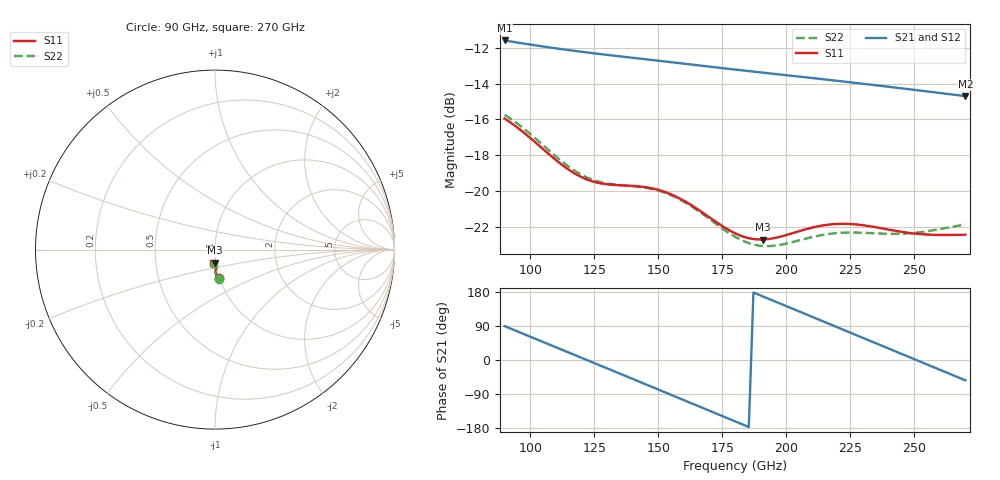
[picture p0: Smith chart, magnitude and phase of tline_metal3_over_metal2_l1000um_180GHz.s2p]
#  GHZ S DB R 50
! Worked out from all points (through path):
!   101 points, 90 GHz to 270 GHz, reference 50 ohm
!   highest |S21| = -11.58 dB at 90 GHz (marker M1); lowest = -14.7 dB at 270 GHz (marker M2)
!   group delay of S21, straight-line fit = 7.77 ps
!   lowest |S11| = -22.7 dB at 190.8 GHz (marker M3), VSWR 1.16, Z = 49.6 - j7.29 ohm
!   |S11| at or under -10 dB: start of sweep to end of sweep
!   |S22| runs from -23.1 to -15.7 dB; largest |S21 - S12| = 3.4e-14
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90  -15.95 -81.5  -11.58 89.4  -11.58 89.4  -15.74 -81.6
97.2  -16.70 -85.3  -11.74 69.3  -11.74 69.3  -16.48 -85.7
106.2  -17.80 -88.2  -11.94 44.3  -11.94 44.3  -17.59 -89.0
113.4  -18.65 -88.4  -12.08 24.3  -12.08 24.3  -18.46 -89.7
120.6  -19.27 -87.3  -12.22 4.2  -12.22 4.2  -19.14 -88.8
127.8  -19.58 -86.0  -12.34 -15.8  -12.34 -15.8  -19.52 -87.7
135  -19.68 -85.8  -12.46 -35.9  -12.46 -35.9  -19.67 -87.5
144  -19.77 -87.7  -12.61 -61.0  -12.61 -61.0  -19.80 -89.3
151.2  -19.99 -90.4  -12.73 -81.2  -12.73 -81.2  -20.03 -91.9
163.8  -20.87 -94.8  -12.94 -116.5  -12.94 -116.5  -20.94 -96.5
172.8  -21.75 -95.4  -13.09 -141.6  -13.09 -141.6  -21.87 -97.4
180  -22.37 -93.6  -13.20 -161.8  -13.20 -161.8  -22.56 -95.9
190.8  -22.72 -88.9  -13.38 168.0  -13.38 168.0  -23.08 -91.0
199.8  -22.48 -86.4  -13.52 142.9  -13.52 142.9  -22.96 -87.7
210.6  -22.04 -86.9  -13.69 112.6  -13.69 112.6  -22.57 -87.0
217.8  -21.87 -88.7  -13.80 92.5  -13.80 92.5  -22.39 -88.0
225  -21.85 -91.0  -13.92 72.3  -13.92 72.3  -22.33 -89.3
232.2  -21.97 -93.0  -14.04 52.1  -14.04 52.1  -22.35 -90.5
241.2  -22.20 -94.6  -14.19 26.9  -14.19 26.9  -22.40 -91.2
248.4  -22.36 -95.2  -14.31 6.8  -14.31 6.8  -22.37 -91.5
255.6  -22.45 -95.5  -14.44 -13.4  -14.44 -13.4  -22.25 -91.9
270  -22.45 -96.8  -14.69 -53.7  -14.69 -53.7  -21.88 -94.5
